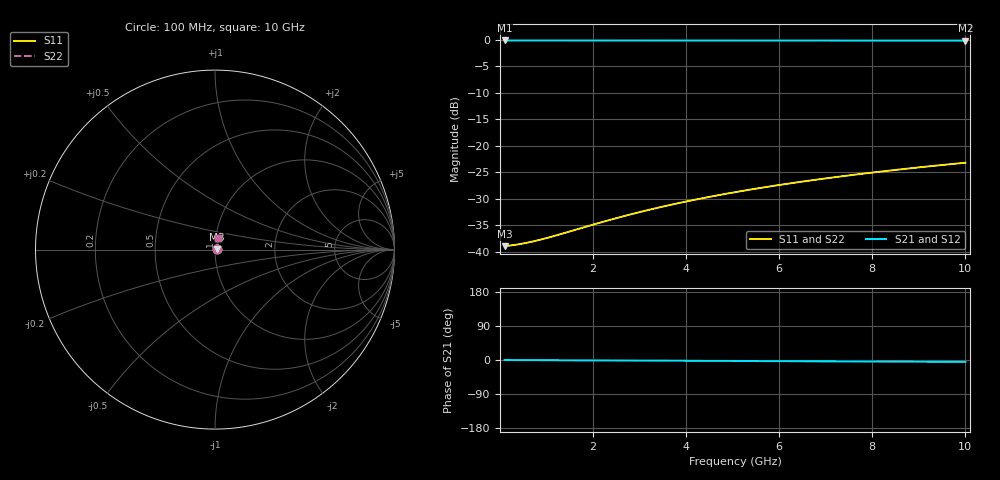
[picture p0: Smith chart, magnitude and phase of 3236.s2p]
# Hz S RI R 50.00
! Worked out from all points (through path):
!   100 points, 100 MHz to 10 GHz, reference 50 ohm
!   highest |S21| = -0.10 dB at 100 MHz (marker M1); lowest = -0.1 dB at 10 GHz (marker M2)
!   lowest |S11| = -38.9 dB at 100 MHz (marker M3), VSWR 1.02, Z = 51.1 + j0.0691 ohm
!   |S11| at or under -10 dB: start of sweep to end of sweep
!   |S22| runs from -38.9 to -23.2 dB; largest |S21 - S12| = 0
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1e8  0.0113 0.000675  0.9887 -0.000876  0.9887 -0.000876  0.0113 0.000675
4e8  0.0115 0.0027  0.9885 -0.0035  0.9885 -0.0035  0.0115 0.0027
6e8  0.0116 0.00405  0.9884 -0.00525  0.9884 -0.00525  0.0116 0.00405
8e8  0.0117 0.0054  0.9883 -0.007  0.9883 -0.007  0.0117 0.0054
1e9  0.0117 0.00675  0.9883 -0.00875  0.9883 -0.00875  0.0117 0.00675
1.2e9  0.0118 0.0081  0.9882 -0.0105  0.9882 -0.0105  0.0118 0.0081
1.8e9  0.012 0.0121  0.988 -0.0158  0.988 -0.0158  0.012 0.0121
2.2e9  0.0121 0.0148  0.9878 -0.0192  0.9878 -0.0192  0.0121 0.0148
2.6e9  0.0123 0.0175  0.9877 -0.0227  0.9877 -0.0227  0.0123 0.0175
3e9  0.0125 0.0202  0.9875 -0.0262  0.9875 -0.0262  0.0125 0.0202
3.4e9  0.0127 0.0229  0.9873 -0.0297  0.9873 -0.0297  0.0127 0.0229
3.8e9  0.0129 0.0256  0.9871 -0.0332  0.9871 -0.0332  0.0129 0.0256
4.2e9  0.0131 0.0283  0.9869 -0.0367  0.9869 -0.0367  0.0131 0.0283
4.6e9  0.0133 0.031  0.9866 -0.0402  0.9866 -0.0402  0.0133 0.031
5.1e9  0.0136 0.0343  0.9863 -0.0446  0.9863 -0.0446  0.0136 0.0343
5.5e9  0.0139 0.037  0.986 -0.0481  0.986 -0.0481  0.0139 0.037
5.9e9  0.0142 0.0397  0.9857 -0.0515  0.9857 -0.0515  0.0142 0.0397
6.7e9  0.0149 0.0451  0.985 -0.0585  0.985 -0.0585  0.0149 0.0451
7.5e9  0.0156 0.0504  0.9843 -0.0655  0.9843 -0.0655  0.0156 0.0504
8.4e9  0.0165 0.0564  0.9833 -0.0733  0.9833 -0.0733  0.0165 0.0564
9.2e9  0.0174 0.0617  0.9824 -0.0802  0.9824 -0.0802  0.0174 0.0617
1e10  0.0183 0.067  0.9815 -0.0871  0.9815 -0.0871  0.0183 0.067
